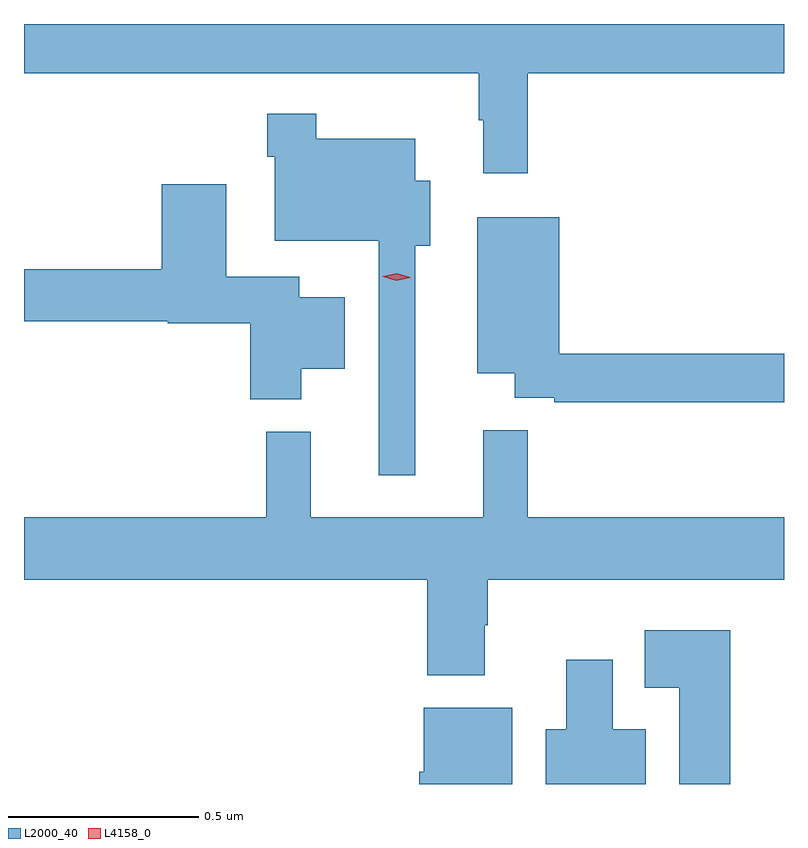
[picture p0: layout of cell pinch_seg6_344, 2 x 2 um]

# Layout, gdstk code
import gdstk
lib = gdstk.Library(unit=1e-6, precision=1e-09)
def P(c, l, *ps):  # polygons
    for p in ps: c.add(gdstk.Polygon(p, *l))
L2000_40 = (2000, 40)
L4158_0 = (4158, 0)

pinch_seg6_344 = lib.new_cell('pinch_seg6_344')
P(pinch_seg6_344, L2000_40, [(751.487,946.004),(752.162,946.004),(752.162,946.134),(750.162,946.134),(750.162,946.004),(751.359,946.004),(751.359,945.881),(751.37,945.881),(751.37,945.741),(751.487,945.741)],
  [(751.192,945.551),(751.231,945.551),(751.231,945.721),(751.192,945.721),(751.192,945.832),(750.931,945.832),(750.931,945.898),(750.802,945.898),(750.802,945.785),(750.822,945.785),(750.822,945.563),(751.095,945.563),(751.095,944.946),(751.192,944.946)],
  [(750.892,945.227),(751.006,945.227),(751.006,945.415),(750.886,945.415),(750.886,945.469),(750.694,945.469),(750.694,945.712),(750.524,945.712),(750.524,945.488),(750.162,945.488),(750.162,945.352),(750.54,945.352),(750.54,945.347),(750.758,945.347),(750.758,945.146),(750.892,945.146)],
  [(752.162,945.266),(751.57,945.266),(751.57,945.625),(751.355,945.625),(751.355,945.215),(751.454,945.215),(751.454,945.15),(751.558,945.15),(751.558,945.138),(752.162,945.138)],
  [(751.375,944.552),(751.383,944.552),(751.383,944.672),(752.162,944.672),(752.162,944.836),(751.487,944.836),(751.487,945.065),(751.37,945.065),(751.37,944.836),(750.917,944.836),(750.917,945.061),(750.799,945.061),(750.799,944.836),(750.162,944.836),(750.162,944.672),(751.223,944.672),(751.223,944.42),(751.375,944.42)],
  [(752.021,944.539),(751.796,944.539),(751.796,944.387),(751.886,944.387),(751.886,944.134),(752.021,944.134)],
  [(751.798,944.278),(751.711,944.278),(751.711,944.461),(751.589,944.461),(751.589,944.278),(751.535,944.278),(751.535,944.134),(751.798,944.134)],
  [(751.447,944.335),(751.214,944.335),(751.214,944.166),(751.202,944.166),(751.202,944.134),(751.447,944.134)])
P(pinch_seg6_344, L4158_0, [(751.142,945.458),(751.107,945.469),(751.106,945.47),(751.107,945.47),(751.143,945.478),(751.178,945.467),(751.178,945.466),(751.178,945.466)])

lib.write_gds('pinch_seg6_344.gds')
